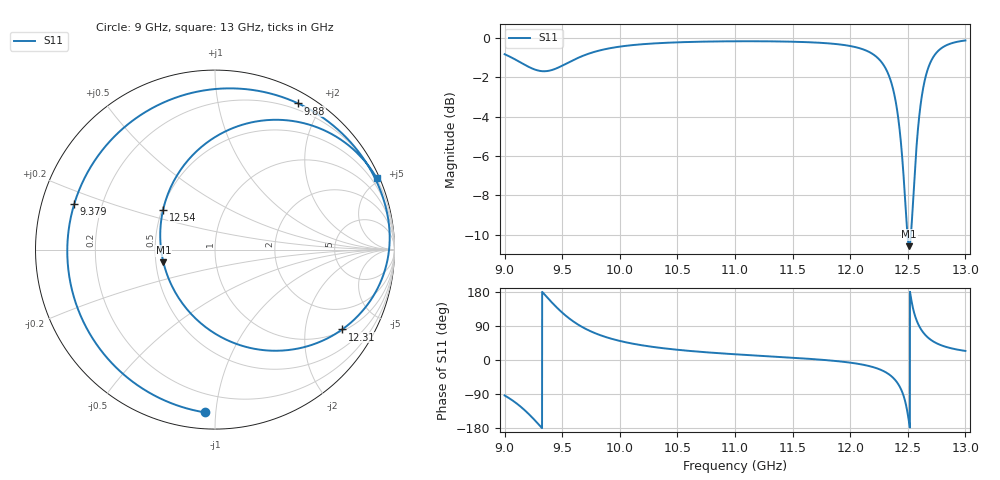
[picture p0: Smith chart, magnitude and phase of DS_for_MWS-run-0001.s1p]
! TOUCHSTONE file generated by CST DESIGN STUDIO
! Date and time: Tue Feb  4 18:00:46 2025
! Project name: C:\Work\MatlabApps\UnitCellOptimizationMatlab\CST\unitcell.cst
! Tree item: Tasks\Sweep1\SPara1\S-Parameters
! Header version: 2024
! Port assignment regex: !\s*Touchstone port\s*([0-9]+)\s*=\s*(CST MWS port|CST DES external port|CST DES block port)\s*(.+)\s* \(\"(.*)\"\)(\s*mode\s*([0-9]+))?.*
! Touchstone port assignment:
! Touchstone port 1 = CST DES external port 1 ("")
# GHz S MA R 50
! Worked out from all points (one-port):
!   4001 points, 9 GHz to 13 GHz, reference 50 ohm
!   lowest |S11| = -10.6 dB at 12.51 GHz (marker M1), VSWR 1.84, Z = 27.4 - j4.24 ohm
!   |S11| at or under -10 dB: 12.49721 GHz to 12.52711 GHz (29.9 MHz wide, 0.239 % of centre)
!   S11 on the Smith chart (normalised r, x): 9 GHz: 0.09, -0.94; 9.379 GHz: 0.10, +0.16; 9.88 GHz: 0.13, +1.71; 12.31 GHz: 1.06, -3.15; 12.54 GHz: 0.51, +0.26; 13 GHz: 0.18, +4.71
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9  0.9088 -93.6
9.092  0.8813 -111.8
9.176  0.854 -132.9
9.284  0.8271 -166.1
9.379  0.8244 162.0
9.5  0.8498 125.1
9.571  0.8707 107.3
9.651  0.8931 91.0
9.88  0.9369 60.4
10  0.95 50.3
10.216  0.9644 37.7
10.5  0.9741 27.0
11  0.9802 15.1
11.5  0.9776 5.9
12  0.9534 -7.0
12.189  0.9123 -17.9
12.307  0.8369 -32.1
12.37  0.7457 -46.2
12.427  0.5922 -68.7
12.464  0.4434 -95.1
12.5  0.3097 -143.3
12.512  0.296 -166.2
12.541  0.365 142.3
12.592  0.6026 93.6
12.648  0.7821 67.4
12.708  0.8801 51.5
12.78  0.9357 40.1
13  0.9848 23.9
